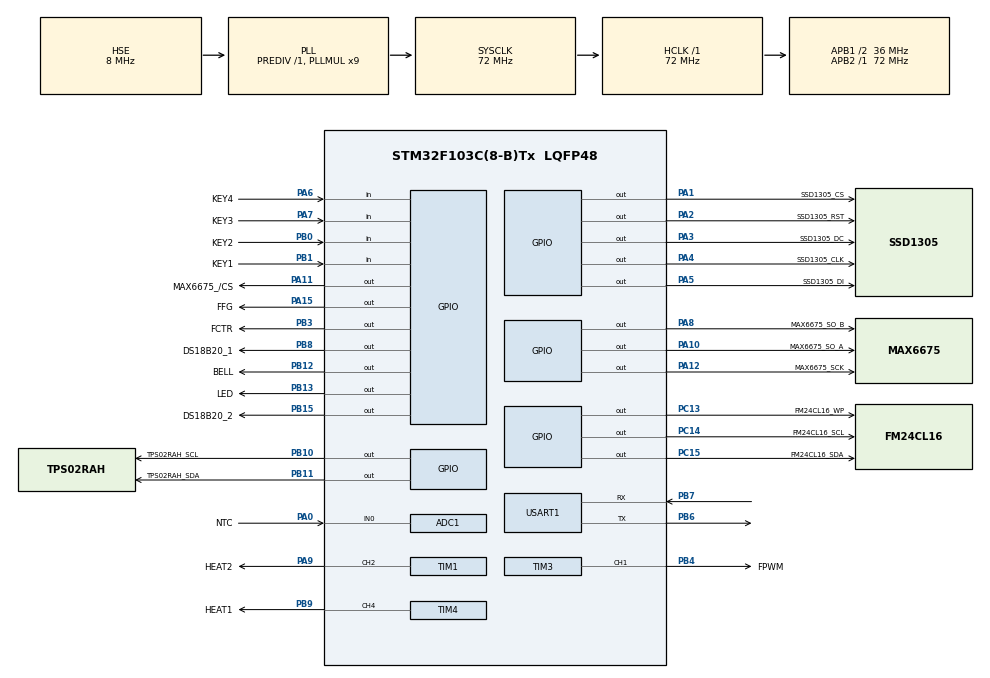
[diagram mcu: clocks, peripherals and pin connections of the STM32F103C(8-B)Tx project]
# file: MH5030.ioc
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ADC1.Channel-0\#ChannelRegularConversion=ADC_CHANNEL_0
ADC1.ContinuousConvMode=ENABLE
ADC1.NbrOfConversionFlag=1
ADC1.Rank-0\#ChannelRegularConversion=1
ADC1.SamplingTime-0\#ChannelRegularConversion=ADC_SAMPLETIME_1CYCLE_5
ADC1.master=1
Dma.ADC1.0.Direction=DMA_PERIPH_TO_MEMORY
Dma.ADC1.0.Instance=DMA1_Channel1
Dma.ADC1.0.MemDataAlignment=DMA_MDATAALIGN_HALFWORD
Dma.ADC1.0.MemInc=DMA_MINC_DISABLE
Dma.ADC1.0.Mode=DMA_CIRCULAR
Dma.ADC1.0.PeriphDataAlignment=DMA_PDATAALIGN_HALFWORD
Dma.ADC1.0.PeriphInc=DMA_PINC_DISABLE
Dma.ADC1.0.Priority=DMA_PRIORITY_LOW
Dma.Request0=ADC1
FREERTOS.INCLUDE_vTaskDelayUntil=1
FREERTOS.Tasks01=HeaterCtrl_Task,1,128,StartDefaultTask,Default,NULL,Dynamic,NULL,NULL;Fan_Task,0,128,fan_task,Default,NULL,Dynamic,NULL,NULL;TCouple_Task,-3,128,tcouple_task,Default,NULL,Dynamic,NULL,NULL;DS18B20_Task,-3,128,ds18b20_task,Default,NULL,Dynamic,NULL,NULL;Wdg_Task,-3,128,wdg_task,Default,NULL,Dynamic,NULL,NULL
FREERTOS.configTOTAL_HEAP_SIZE=5120
FREERTOS.configUSE_COUNTING_SEMAPHORES=0
FREERTOS.configUSE_RECURSIVE_MUTEXES=0
FREERTOS.configUSE_TIMERS=0
IWDG.Prescaler=IWDG_PRESCALER_64
IWDG.Reload=625
Mcu.Family=STM32F1
Mcu.Name=STM32F103C(8-B)Tx
Mcu.Package=LQFP48
NVIC.DMA1_Channel1_IRQn=true\:5\:0\:false\:false\:true\:true\:false\:true\:true
NVIC.PriorityGroup=NVIC_PRIORITYGROUP_4
NVIC.TIM2_IRQn=true\:15\:0\:false\:false\:true\:false\:false\:true\:true
NVIC.TimeBase=TIM2_IRQn
NVIC.TimeBaseIP=TIM2
PA0-WKUP.GPIO_Label=NTC
PA0-WKUP.Signal=ADCx_IN0
PA1.GPIO_Label=SSD1305_CS
PA1.GPIO_ModeDefaultOutputPP=GPIO_MODE_OUTPUT_PP
PA1.GPIO_Speed=GPIO_SPEED_FREQ_HIGH
PA1.PinState=GPIO_PIN_SET
PA1.Signal=GPIO_Output
PA10.GPIO_Label=MAX6675_SO_A
PA10.GPIO_Speed=GPIO_SPEED_FREQ_HIGH
PA10.Signal=GPIO_Output
PA11.GPIO_Label=MAX6675_/CS
PA11.Signal=GPIO_Output
PA12.GPIO_Label=MAX6675_SCK
PA12.GPIO_Speed=GPIO_SPEED_FREQ_HIGH
PA12.PinState=GPIO_PIN_SET
PA12.Signal=GPIO_Output
PA13.Mode=Serial_Wire
PA13.Signal=SYS_JTMS-SWDIO
PA14.Mode=Serial_Wire
PA14.Signal=SYS_JTCK-SWCLK
PA15.GPIO_Label=FFG
PA15.Signal=GPIO_Output
PA2.GPIO_Label=SSD1305_RST
PA2.GPIO_Speed=GPIO_SPEED_FREQ_HIGH
PA2.PinState=GPIO_PIN_SET
PA2.Signal=GPIO_Output
PA3.GPIO_Label=SSD1305_DC
PA3.GPIO_Speed=GPIO_SPEED_FREQ_HIGH
PA3.PinState=GPIO_PIN_SET
PA3.Signal=GPIO_Output
PA4.GPIO_Label=SSD1305_CLK
PA4.GPIO_Speed=GPIO_SPEED_FREQ_HIGH
PA4.PinState=GPIO_PIN_SET
PA4.Signal=GPIO_Output
PA5.GPIO_Label=SSD1305_DI
PA5.GPIO_Speed=GPIO_SPEED_FREQ_HIGH
PA5.PinState=GPIO_PIN_SET
PA5.Signal=GPIO_Output
PA6.GPIO_Label=KEY4
PA6.GPIO_PuPd=GPIO_PULLUP
PA6.Signal=GPIO_Input
PA7.GPIO_Label=KEY3
PA7.GPIO_PuPd=GPIO_PULLUP
PA7.Signal=GPIO_Input
PA8.GPIO_Label=MAX6675_SO_B
PA8.GPIO_Speed=GPIO_SPEED_FREQ_HIGH
PA8.Signal=GPIO_Output
PA9.GPIO_Label=HEAT2
PA9.Signal=S_TIM1_CH2
PB0.GPIO_Label=KEY2
PB0.GPIO_PuPd=GPIO_PULLUP
PB0.Signal=GPIO_Input
PB1.GPIO_Label=KEY1
PB1.GPIO_PuPd=GPIO_PULLUP
PB1.Signal=GPIO_Input
PB10.GPIO_Label=TPS02RAH_SCL
PB10.GPIO_ModeDefaultOutputPP=GPIO_MODE_OUTPUT_OD
PB10.GPIO_PuPd=GPIO_NOPULL
PB10.GPIO_Speed=GPIO_SPEED_FREQ_HIGH
PB10.PinState=GPIO_PIN_SET
PB10.Signal=GPIO_Output
PB11.GPIO_Label=TPS02RAH_SDA
PB11.GPIO_ModeDefaultOutputPP=GPIO_MODE_OUTPUT_OD
PB11.GPIO_PuPd=GPIO_NOPULL
PB11.GPIO_Speed=GPIO_SPEED_FREQ_HIGH
PB11.PinState=GPIO_PIN_SET
PB11.Signal=GPIO_Output
PB12.GPIO_Label=BELL
PB12.PinState=GPIO_PIN_RESET
PB12.Signal=GPIO_Output
PB13.GPIO_Label=LED
PB13.GPIO_ModeDefaultOutputPP=GPIO_MODE_OUTPUT_PP
PB13.PinState=GPIO_PIN_SET
PB13.Signal=GPIO_Output
PB15.GPIO_Label=DS18B20_2
PB15.GPIO_ModeDefaultOutputPP=GPIO_MODE_OUTPUT_OD
PB15.GPIO_PuPd=GPIO_NOPULL
PB15.Signal=GPIO_Output
PB3.GPIO_Label=FCTR
PB3.GPIO_Speed=GPIO_SPEED_FREQ_LOW
PB3.PinState=GPIO_PIN_SET
PB3.Signal=GPIO_Output
PB4.GPIO_Label=FPWM
PB4.Signal=S_TIM3_CH1
PB6.Mode=Asynchronous
PB6.Signal=USART1_TX
PB7.GPIO_PuPd=GPIO_NOPULL
PB7.Mode=Asynchronous
PB7.Signal=USART1_RX
PB8.GPIO_Label=DS18B20_1
PB8.GPIO_ModeDefaultOutputPP=GPIO_MODE_OUTPUT_OD
PB8.GPIO_PuPd=GPIO_NOPULL
PB8.GPIO_Speed=GPIO_SPEED_FREQ_MEDIUM
PB8.Signal=GPIO_Output
PB9.GPIO_Label=HEAT1
PB9.Signal=S_TIM4_CH4
PC13-TAMPER-RTC.GPIO_Label=FM24CL16_WP
PC13-TAMPER-RTC.GPIO_ModeDefaultOutputPP=GPIO_MODE_OUTPUT_OD
PC13-TAMPER-RTC.GPIO_PuPd=GPIO_NOPULL
PC13-TAMPER-RTC.Signal=GPIO_Output
PC14-OSC32_IN.GPIO_Label=FM24CL16_SCL
PC14-OSC32_IN.GPIO_ModeDefaultOutputPP=GPIO_MODE_OUTPUT_OD
PC14-OSC32_IN.GPIO_PuPd=GPIO_NOPULL
PC14-OSC32_IN.GPIO_Speed=GPIO_SPEED_FREQ_MEDIUM
PC14-OSC32_IN.Signal=GPIO_Output
PC15-OSC32_OUT.GPIO_Label=FM24CL16_SDA
PC15-OSC32_OUT.GPIO_ModeDefaultOutputPP=GPIO_MODE_OUTPUT_OD
PC15-OSC32_OUT.GPIO_PuPd=GPIO_NOPULL
PC15-OSC32_OUT.GPIO_Speed=GPIO_SPEED_FREQ_MEDIUM
PC15-OSC32_OUT.PinState=GPIO_PIN_RESET
PC15-OSC32_OUT.Signal=GPIO_Output
PD0-OSC_IN.Mode=HSE-External-Oscillator
PD0-OSC_IN.Signal=RCC_OSC_IN
PD1-OSC_OUT.Mode=HSE-External-Oscillator
PD1-OSC_OUT.Signal=RCC_OSC_OUT
ProjectManager.HeapSize=0x200
ProjectManager.StackSize=0x400
ProjectManager.TargetToolchain=MDK-ARM V5.32
RCC.ADCPresc=RCC_ADCPCLK2_DIV6
RCC.AHBFreq_Value=72000000
RCC.APB1CLKDivider=RCC_HCLK_DIV2
RCC.APB1Freq_Value=36000000
RCC.APB1TimFreq_Value=72000000
RCC.APB2Freq_Value=72000000
RCC.APB2TimFreq_Value=72000000
RCC.HCLKFreq_Value=72000000
RCC.PLLMUL=RCC_PLL_MUL9
RCC.PLLSourceVirtual=RCC_PLLSOURCE_HSE
RCC.SYSCLKFreq_VALUE=72000000
RCC.SYSCLKSource=RCC_SYSCLKSOURCE_PLLCLK
RCC.USBFreq_Value=72000000
SH.ADCx_IN0.0=ADC1_IN0,IN0
SH.S_TIM1_CH2.0=TIM1_CH2,PWM Generation2 CH2
SH.S_TIM3_CH1.0=TIM3_CH1,PWM Generation1 CH1
SH.S_TIM4_CH4.0=TIM4_CH4,PWM Generation4 CH4
TIM1.AutoReloadPreload=TIM_AUTORELOAD_PRELOAD_ENABLE
TIM1.Channel-PWM\ Generation2\ CH2=TIM_CHANNEL_2
TIM1.OCMode_PWM-PWM\ Generation2\ CH2=TIM_OCMODE_PWM2
TIM1.Period=999
TIM1.Prescaler=7199
TIM3.AutoReloadPreload=TIM_AUTORELOAD_PRELOAD_ENABLE
TIM3.Channel-PWM\ Generation1\ CH1=TIM_CHANNEL_1
TIM3.OCMode_PWM-PWM\ Generation1\ CH1=TIM_OCMODE_PWM1
TIM3.Period=999
TIM3.Prescaler=7199
TIM4.AutoReloadPreload=TIM_AUTORELOAD_PRELOAD_ENABLE
TIM4.Channel-PWM\ Generation4\ CH4=TIM_CHANNEL_4
TIM4.OCMode_PWM-PWM\ Generation4\ CH4=TIM_OCMODE_PWM2
TIM4.Period=999
TIM4.Prescaler=7200
TIM4.Pulse-PWM\ Generation4\ CH4=0
USART1.VirtualMode=VM_ASYNC
VP_FREERTOS_VS_CMSIS_V1.Mode=CMSIS_V1
VP_IWDG_VS_IWDG.Mode=IWDG_Activate
VP_SYS_VS_tim2.Mode=TIM2
VP_TIM1_VS_ClockSourceINT.Mode=Internal
board=custom

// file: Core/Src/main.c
/* USER CODE BEGIN Header */
/**
  ******************************************************************************
  * @file           : main.c
  * @brief          : Main program body
  ******************************************************************************
  * @attention
  *
  * Copyright (c) 2025 STMicroelectronics.
  * All rights reserved.
  *
  * This software is licensed under terms that can be found in the LICENSE file
  * in the root directory of this software component.
  * If no LICENSE file comes with this software, it is provided AS-IS.
  *
  ******************************************************************************
  */
/* USER CODE END Header */
#include "main.h"
#include "cmsis_os.h"
#include "adc.h"
#include "dma.h"
#include "iwdg.h"
#include "tim.h"
#include "usart.h"
#include "gpio.h"

/* USER CODE BEGIN Includes */
#include "delay.h"
#include "I2c.h"
#include "tps02r.h"
#include <stdio.h>
#include "ssd1305.h"
#include "tps02r.h"
#include "FM24CXX.h"
#include "onewire.h"
#include "ds18b20.h"
#include "MAX6675.h"
#include "ntc.h"
#include "pid.h"
#include "fan_control.h"
#include "key.h"
#include "pid_manager.h"
/* USER CODE END Includes */

void SystemClock_Config(void);
void MX_FREERTOS_Init(void);

int main(void)
{

  /* MCU Configuration--------------------------------------------------------*/

  /* Reset of all peripherals, Initializes the Flash interface and the Systick. */
  HAL_Init();

  /* Configure the system clock */
  SystemClock_Config();

  /* Initialize all configured peripherals */
  MX_GPIO_Init();
  MX_DMA_Init();
  MX_ADC1_Init();
  MX_USART1_UART_Init();
  MX_TIM1_Init();
  MX_TIM3_Init();
  MX_TIM4_Init();
//  MX_IWDG_Init();
  /* USER CODE BEGIN 2 */

  delay_init(72);                     /* 初始化延时函数 */

/*-------------------------------------FAN TEST PROGRAM----------------------------------------------*/

//  HAL_TIM_PWM_Start (&htim3, TIM_CHANNEL_1);
//  HAL_GPIO_WritePin (GPIOB,GPIO_PIN_3,GPIO_PIN_RESET);
//  Fan_Init();
//    Fan_Start();
//    Filter_Init_All();
//
/*-------------------------------------FAN TEST PROGRAM----------------------------------------------*/

/*-------------------------------------PWM TEST PROGRAM----------------------------------------------*/

  HAL_TIM_PWM_Start (&htim1, TIM_CHANNEL_2);
  HAL_TIM_PWM_Start (&htim4, TIM_CHANNEL_4);

/*-------------------------------------PWM TEST PROGRAM----------------------------------------------*/

/*-------------------------------------MAX6675 TEST PROGRAM------------------------------------------*/
//  MAX6675_Setup();
//  Temperature_Monitor_Task();
/*-------------------------------------MAX6675 TEST PROGRAM------------------------------------------*/

/*-------------------------------------ds18b20 test program------------------------------------------*/
//  u8 error = 0;
//  OneWire_Init(&OneWire_2,DS18B20_2_GPIO_Port, DS18B20_2_Pin);
//  error=OneWire_Reset(&OneWire_2);

//  if(error==0)
//  {
//      printf("ok!!!\n");
//  }else
//  {
//      printf("error!!!\n");
//  }
/*-------------------------------------ds18b20 test program-------------------------------------------*/

/*-------------------------------------TPS02R test program----------------------------------------------*/
//    u8 error = 0;
//    tps02r_iic_init(&g_stTps02r_IICManger);
//    error=tps02r_cfg_init();
//    if(error==0)
//    {
//      printf("ok!!!\n");
//    }else
//    {
//      printf("error!!!\n");
//    }

/*-------------------------------------TPS02R test program----------------------------------------------*/

/*-------------------------------------FM24CXX test program----------------------------------------------*/
//  FM24CXX_iic_init(&fm24cxx_iicmanager);
//  printf("test\r\n");
//  if(FM_Check()==0)
//  {
//      printf("ok!!!\n");
//  }
//  char result = FM_ReadOneByte(EE_TYPE);
//  printf("result = %d ",result);
/*-------------------------------------FM24CXX test program----------------------------------------------*/

/*-------------------------------------SSD1305 test program----------------------------------------------*/
//  SSD1305_init();
//  clearscreen();
//
//             /* 起始界面 */
//  DispString(40, 12, "MH5030",   false);
//  DispString(28, 36, "Ver 1.0.0", false);
/*************************************************/
//        /* 枪管，腔体 温度显示界面 */

//    DispString(8, 0, "枪管℃", false);
//    DispString(72, 0, "腔体℃", false);
//
//     /* 分割线 */
//    draw_vspan(64,1,64);
//    draw_hline(1,123,18);
//
//    Show_Word_U_16x32(8,24,978,3,0,false);
//    Show_Word_U_16x32(72,24,978,3,0,false);

/*************************************************/

//          /* 枪管温度设置界面 */
//
//    DispString(16, 0, "枪管温度设置", false);
//
//
//              /* 分割线 */
//    draw_hline(1, 127,20);
//
//    Show_Word_U(48, 32, 101, 3, 0, false);
//    DispString(74, 32, "℃", false);
//
/*************************************************/

//          /* 腔体温度设置界面 */
//
//    DispString(16, 0, "腔体温度设置", false);
//              /* 分割线 */
//    draw_hline(1,127,20);
//
//    Show_Word_U(48, 32, 120, 3, 0, false);
//    DispString(74, 32, "℃", false);
//
/*************************************************/

//          /* 二噁英，3091，温度显示界面 */
//    dispHzChar(24,0,35,false);        /* 噁 */
//    DispString(8, 0, "二", false);
//    DispString(40, 0, "英", false);
//    DispString(80, 0, "3091", false);

//              /* 分割线 */
//    draw_hline(1,127,18);
//    draw_vspan(64,1,64);

////    DispString12(12, 24, "测量值", false);
////    DispString12(76, 24, "测量值", false);

////    //    /* 6*12 显示*/
////    Disp_Word_UM(18, 40, 3, 120, 0, 0);
////    DispString12(40, 40, "℃", false);
////    Disp_Word_UM(82, 40, 3, 120, 0, 0);
//
//    ////    /* 8*16 显示*/
//    Show_Word_U(14, 32, 101, 3, 0, false);
//    DispString(38, 32, "℃", false);
//    Show_Word_U(78, 32, 101, 3, 0, false);
//    DispString(102, 32, "℃", false);

///*************************************************/

//          /* 智能温控调节界面 */
//    DispString(16, 0, "智能温控调节", false);
//              /* 分割线 */
//      draw_hline(1,127,20);

//    DispString(32, 32, "已按:", false);
//    Show_Word_U(72, 32, 1, 1, 0, true);
//    DispString(80, 32, "/", false);
//    Show_Word_U(88, 32, 7, 1, 0, false);
//
/////*************************************************/

//    /* 显示标题 */
//    DispString(16, 0, "智能温控调节", false);
//    draw_hline(1, 127, 20);
//
//    /* 显示进度 */
//    DispString(32, 32, "进度:", false);
//    Show_Word_U(72, 32, 1, 1, 0, true);
//    DispString(80, 32, "/", false);
//    Show_Word_U(88, 32, 5, 1, 0, false);

//    /* 显示提示信息 */
//    DispString(16, 48, "ESC键停止", false);
///*************************************************/

//     /* 枪管选择界面 */
//    DispString(32, 0, "枪管设置", false);
//
//    /* 分割线 */
//    draw_hline(1,127,20);
//
//    DispString(14, 24, "硫酸雾", true);
//    DispString(68, 24, "二噁英", false);
//    dispHzChar(84,24,31,false);        /* 噁 */
//
//    /* 分割线 */
//    draw_hline(13,115,44);
//    draw_vspan(64,21,43);
//    draw_vspan(45,45,64);
//    draw_vspan(84,45,64);
//
//    DispString(22,48,"汞", false);
//    DispString(50,48,"3041", true);
//    DispString(90,48,"氨", false);

///*************************************************/

/*-------------------------------------SSD1305 test program----------------------------------------------*/

  /* USER CODE END 2 */

    /* Call init function for freertos objects (in cmsis_os2.c) */
    MX_FREERTOS_Init();

    /* Start scheduler */
    osKernelStart();

  /* We should never get here as control is now taken by the scheduler */

  /* Infinite loop */
while (1)
{

}
}

void SystemClock_Config(void)
{
  RCC_OscInitTypeDef RCC_OscInitStruct = {0};
  RCC_ClkInitTypeDef RCC_ClkInitStruct = {0};
  RCC_PeriphCLKInitTypeDef PeriphClkInit = {0};

  /** Initializes the RCC Oscillators according to the specified parameters
  * in the RCC_OscInitTypeDef structure.
  */
  RCC_OscInitStruct.OscillatorType = RCC_OSCILLATORTYPE_LSI|RCC_OSCILLATORTYPE_HSE;
  RCC_OscInitStruct.HSEState = RCC_HSE_ON;
  RCC_OscInitStruct.HSEPredivValue = RCC_HSE_PREDIV_DIV1;
  RCC_OscInitStruct.HSIState = RCC_HSI_ON;
  RCC_OscInitStruct.LSIState = RCC_LSI_ON;
  RCC_OscInitStruct.PLL.PLLState = RCC_PLL_ON;
  RCC_OscInitStruct.PLL.PLLSource = RCC_PLLSOURCE_HSE;
  RCC_OscInitStruct.PLL.PLLMUL = RCC_PLL_MUL9;
  if (HAL_RCC_OscConfig(&RCC_OscInitStruct) != HAL_OK)
  {
    Error_Handler();
  }

  /** Initializes the CPU, AHB and APB buses clocks
  */
  RCC_ClkInitStruct.ClockType = RCC_CLOCKTYPE_HCLK|RCC_CLOCKTYPE_SYSCLK
                              |RCC_CLOCKTYPE_PCLK1|RCC_CLOCKTYPE_PCLK2;
  RCC_ClkInitStruct.SYSCLKSource = RCC_SYSCLKSOURCE_PLLCLK;
  RCC_ClkInitStruct.AHBCLKDivider = RCC_SYSCLK_DIV1;
  RCC_ClkInitStruct.APB1CLKDivider = RCC_HCLK_DIV2;
  RCC_ClkInitStruct.APB2CLKDivider = RCC_HCLK_DIV1;

  if (HAL_RCC_ClockConfig(&RCC_ClkInitStruct, FLASH_LATENCY_2) != HAL_OK)
  {
    Error_Handler();
  }
  PeriphClkInit.PeriphClockSelection = RCC_PERIPHCLK_ADC;
  PeriphClkInit.AdcClockSelection = RCC_ADCPCLK2_DIV6;
  if (HAL_RCCEx_PeriphCLKConfig(&PeriphClkInit) != HAL_OK)
  {
    Error_Handler();
  }
}

void HAL_TIM_PeriodElapsedCallback(TIM_HandleTypeDef *htim)
{
  if (htim->Instance == TIM2)
  {
    HAL_IncTick();
  }

  /* USER CODE END Callback 1 */
}

void Error_Handler(void)
{
  __disable_irq();
  while (1)
  {
  }
}

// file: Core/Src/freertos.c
/* USER CODE BEGIN Header */
/**
  ******************************************************************************
  * File Name          : freertos.c
  * Description        : Code for freertos applications
  ******************************************************************************
  * @attention
  *
  * Copyright (c) 2025 STMicroelectronics.
  * All rights reserved.
  *
  * This software is licensed under terms that can be found in the LICENSE file
  * in the root directory of this software component.
  * If no LICENSE file comes with this software, it is provided AS-IS.
  *
  ******************************************************************************
  */
/* USER CODE END Header */

#include "FreeRTOS.h"
#include "task.h"
#include "main.h"
#include "cmsis_os.h"

/* USER CODE BEGIN Includes */
#include "delay.h"
#include "I2c.h"
#include "tps02r.h"
#include <stdio.h>
#include "ssd1305.h"
#include "FM24CXX.h"
#include "onewire.h"
#include "ds18b20.h"
#include "MAX6675.h"
#include "ntc.h"
#include "usart.h"
#include "pid.h"
#include "fan_control.h"
#include "iwdg.h"
#include "key.h"
#include "queue.h"
#include "semphr.h"
#include <stdlib.h>
#include "pid_manager.h"
#include "ui_manager.h"
#include "key_manager.h"

/* USER CODE END Includes */

/* USER CODE BEGIN Variables */

// FreeRTOS对象
QueueHandle_t UI_Queue = NULL;
SemaphoreHandle_t Data_Mutex = NULL;

// 任务句柄
osThreadId Key_TaskHandle;
osThreadId UI_TaskHandle;

/* USER CODE END Variables */
osThreadId HeaterCtrl_TaskHandle;
osThreadId Fan_TaskHandle;
osThreadId TCouple_TaskHandle;
osThreadId DS18B20_TaskHandle;
osThreadId Wdg_TaskHandle;

void heaterctrl_task(void const * argument);
void fan_task(void const * argument);
void tcouple_task(void const * argument);
void ds18b20_task(void const * argument);
void wdg_task(void const * argument);
void key_task(void const * argument);
void ui_task(void const * argument);
void MX_FREERTOS_Init(void); /* (MISRA C 2004 rule 8.1) */

/* GetIdleTaskMemory prototype (linked to static allocation support) */
void vApplicationGetIdleTaskMemory( StaticTask_t **ppxIdleTaskTCBBuffer, StackType_t **ppxIdleTaskStackBuffer, uint32_t *pulIdleTaskStackSize );

/* USER CODE BEGIN GET_IDLE_TASK_MEMORY */
static StaticTask_t xIdleTaskTCBBuffer;
static StackType_t xIdleStack[configMINIMAL_STACK_SIZE];

void vApplicationGetIdleTaskMemory( StaticTask_t **ppxIdleTaskTCBBuffer, StackType_t **ppxIdleTaskStackBuffer, uint32_t *pulIdleTaskStackSize )
{
  *ppxIdleTaskTCBBuffer = &xIdleTaskTCBBuffer;
  *ppxIdleTaskStackBuffer = &xIdleStack[0];
  *pulIdleTaskStackSize = configMINIMAL_STACK_SIZE;
  /* place for user code */
}
/* USER CODE END GET_IDLE_TASK_MEMORY */

void MX_FREERTOS_Init(void)
{
  /* USER CODE BEGIN Init */

   /* 创建消息队列 */
   UI_Queue = xQueueCreate(10, sizeof(UIMessage_t));

   /* 创建互斥量 */
   Data_Mutex = xSemaphoreCreateMutex();

  /* USER CODE END Init */

  /* Create the thread(s) */
  /* definition and creation of HeaterCtrl_Task */
  osThreadDef(HeaterCtrl_Task, heaterctrl_task, osPriorityHigh, 0, 256);
  HeaterCtrl_TaskHandle = osThreadCreate(osThread(HeaterCtrl_Task), NULL);

  /* definition and creation of Fan_Task */
  osThreadDef(Fan_Task, fan_task, osPriorityLow, 0, 48);
  Fan_TaskHandle = osThreadCreate(osThread(Fan_Task), NULL);

//  /* definition and creation of TCouple_Task */
//  osThreadDef(TCouple_Task, tcouple_task, osPriorityNormal, 0, 64);
//  TCouple_TaskHandle = osThreadCreate(osThread(TCouple_Task), NULL);

//  /* definition and creation of DS18B20_Task */
//  osThreadDef(DS18B20_Task, ds18b20_task, osPriorityNormal, 0, 64);
//  DS18B20_TaskHandle = osThreadCreate(osThread(DS18B20_Task), NULL);

  /* definition and creation of Wdg_Task */
  osThreadDef(Wdg_Task, wdg_task, osPriorityRealtime , 0, 32);
  Wdg_TaskHandle = osThreadCreate(osThread(Wdg_Task), NULL);

  /* USER CODE BEGIN RTOS_THREADS */

  /* 创建Key任务 */
  osThreadDef(Key_Task, key_task, osPriorityBelowNormal, 0, 64);
  Key_TaskHandle = osThreadCreate(osThread(Key_Task), NULL);

  /* 创建UI任务 */
  osThreadDef(UI_Task, ui_task, osPriorityLow, 0, 128);
  UI_TaskHandle = osThreadCreate(osThread(UI_Task), NULL);
//
  /* USER CODE END RTOS_THREADS */

}

void heaterctrl_task(void const * argument)
{
  /* USER CODE BEGIN StartDefaultTask */
    float pt100_front = 0.0;                                              /* 记录前枪管温度 */
    float pt100_rear = 0.0;                                               /* 记录腔体温度 */

    /* 硬件初始化 */
    FM24CXX_iic_init(&fm24cxx_iicmanager);                                /* 初始化EEPROM */
    tps02r_iic_init(&g_stTps02r_IICManger);                               /* 初始化tps02r */
    tps02r_cfg_init();

    /* PID系统初始化 */
    pid_front_init(&g_stPidFront, &g_stPidFrontAuto, &g_stFilterFront);   /* 初始化前枪管PID参数 */
    pid_rear_init(&g_stPidRear, &g_stPidRearAuto, &g_stFilterRear);       /* 初始化腔体PID参数 */

    /* 参数管理器初始化 */
    Init_PID_Manager();

    /* 检查EEPROM */
    if (FM_Check() != 0)
    {
        g_system_status.error_code = 1;                                   /* EEPROM错误 */
    }

    /* Infinite loop */
    for(;;)
    {
        /* 读取前枪管温度 */
        if (tps02r_get_temp(TPS02R_CHAN2, &pt100_front) == TPS02R_FUN_OK)
        {
            /* 滤波处理 */
            g_stPidFront.Pv = combined_filter(&g_stFilterFront, pt100_front);
            g_system_status.front_temp_pv = g_stPidFront.Pv;
        }
        else
        {
            g_system_status.temp_error |= 0x01;                            /* 前枪管温度读取错误 */
        }

        /* 读取腔体温度 */
        if (tps02r_get_temp(TPS02R_CHAN1, &pt100_rear) == TPS02R_FUN_OK)
        {
            /* 滤波处理 */
            g_stPidRear.Pv = combined_filter(&g_stFilterRear, pt100_rear);
            g_system_status.rear_temp_pv = g_stPidRear.Pv;
        }

        else
        {
            g_system_status.temp_error |= 0x02;                            /* 腔体温度读取错误 */
        }

        /* 更新设定值 */
        g_stPidFront.Sv = g_system_status.front_temp_sv;
        g_stPidRear.Sv = g_system_status.rear_temp_sv;

        /* 检查是否需要切换参数组 */
        if (g_system_status.mode != PID_MODE_AUTOTUNE)
        {
            Check_And_Switch_Group();
        }

        /* 处理自整定请求 */
        if (g_system_status.autotune_request)
        {
            /* 设置自整定模式 */
            g_stPidFrontAuto.tuneEnable = 1;
            g_stPidRearAuto.tuneEnable = 1;
            g_system_status.autotune_request = 0;
        }

        /* 根据运行模式执行不同逻辑 */
        if (g_system_status.mode == PID_MODE_AUTOTUNE)
        {
            /* 自整定模式：两路同时进行 */
            RelayFeedbackAutoTuning(&g_stPidFront, &g_stPidFrontAuto);
            RelayFeedbackAutoTuning(&g_stPidRear, &g_stPidRearAuto);

        }
        else if (g_system_status.mode == PID_MODE_RUN)
        {
            /* 运行模式：执行PID控制 */
            PID_Calc(&g_stPidFront, &g_stPidFrontAuto);
            PID_Calc(&g_stPidRear, &g_stPidRearAuto);
        }
        else
        {
            /* 停止模式：输出置零 */
            g_stPidFront.OUT = 0;
            g_stPidRear.OUT = 0;
        }

        /* 更新PWM输出 */
        if (g_stPidFront.OUT > 0 )
        {
            TIM4->CCR4 = g_stPidFront.OUT - 1;
        }
        else
        {
            TIM4->CCR4 = 0;
        }

        if (g_stPidRear.OUT > 0)
        {
            TIM1->CCR2 = g_stPidRear.OUT - 1;
        }
        else
        {
            TIM1->CCR2 = 0;
        }
        osDelay(200);
    }
  /* USER CODE END StartDefaultTask */
}

/**
 * @brief  Key任务 - 处理按键和系统逻辑
 */
void key_task(void const * argument)
{
    uint8_t key = 0;
    uint32_t startup_timer = osKernelSysTick();

    /* 初始化按键管理器 */
    Key_Manager_Init();

    for(;;)
    {
        /* 自动切换启动页面 */
        if(g_current_page_id == PAGE_STARTUP &&
           (osKernelSysTick() - startup_timer) > 2000)
        {
            xSemaphoreTake(Data_Mutex, portMAX_DELAY);
            g_current_page_id = PAGE_TEMP_DISPLAY;
            xSemaphoreGive(Data_Mutex);

            Send_UI_Message(MSG_PAGE_CHANGE, PAGE_TEMP_DISPLAY, 0, 1);
        }

        /* 按键扫描 */
        key = key_scan(0);

        if(key != 0)
        {
            xSemaphoreTake(Data_Mutex, portMAX_DELAY);

            /* 根据当前模式处理按键 */
            switch (g_current_mode)
           {
            case MODE_BROWSE:
                Process_Browse_Mode_Key(key);
                break;

            case MODE_EDIT:
                Process_Edit_Mode_Key(key);
                break;

            case MODE_AUTOTUNE:
                Process_Autotune_Key(key);
                break;

            case MODE_SELECT:
                Process_Gun_Select_Mode_Key(key);
                break;

            default:
                /* 未知模式：可选择忽略、记录日志或做安全处理 */
                break;
            }

            xSemaphoreGive(Data_Mutex);
        }

        /* 自整定进度更新 */
        if(g_current_mode == MODE_AUTOTUNE)
        {
            Update_Autotune_Status();

            /* 检查是否完成 */
            if(g_system_status.autotune_complete)
            {
                g_current_mode = MODE_BROWSE;
                g_stOkCntrAutotune.autotune_triggered = 0;
                g_current_page_id = PAGE_SMART_CONTROL;
                /* 清零按键 */
                Reset_Key_Counter(&g_stOkCntrAutotune);
                /* 进行模式转换，回到浏览模式 */
                Send_UI_Message(MSG_MODE_CHANGE, PAGE_SMART_CONTROL, 0, 1);
            }
            else
            {
                /* 发送进度更新消息 */
                Send_UI_Message(MSG_AUTOTUNE_PROGRESS, PAGE_SMART_CONTROL, 0, 0);
            }
        }

        osDelay(20);
    }
}

/* UI任务 */
void ui_task(void const * argument)
{
    UIMessage_t msg;
    uint32_t realtime_counter = 0;
    bool need_temp_update = false;

    /* 初始化UI管理器 */
    UI_Manager_Init();

    /* 显示启动页面 */
    Display_Startup_Page();

    for(;;)
    {
        /* 检查消息队列 */
        if(xQueueReceive(UI_Queue, &msg, 0) == pdTRUE)
        {
            switch(msg.msg_type)
            {
                case MSG_PAGE_CHANGE:
                    Display_Page(msg.page_id);
                    break;

                case MSG_VALUE_UPDATE:
                    Update_Value_Display(msg.page_id, msg.new_value,
                                       g_current_mode == MODE_EDIT);
                    break;

                case MSG_MODE_CHANGE:
                    if(msg.page_id == PAGE_SMART_CONTROL)           /* 自增定模式 */
                    {
                        Display_Page(msg.page_id);
                    }
                    else if(msg.page_id == PAGE_GUN_SELECT)         /* 枪管选择模式 */
                    {
                        Display_Page(msg.page_id);
                    }
                    else                                            /* 编辑模式 */
                    {
                        Update_Value_Display(msg.page_id,
                        g_pages[msg.page_id].current_value,
                        g_current_mode == MODE_EDIT);
                    }
                    break;

                case MSG_AUTOTUNE_PROGRESS:
                    if(g_current_page_id == PAGE_SMART_CONTROL &&
                       g_current_mode == MODE_AUTOTUNE)
                    {
                        Display_Autotune_Progress_Page();
                    }
                    break;
            }
        }

        /* 实时数据更新 */
        realtime_counter++;
        if(realtime_counter >= 25)  /* 500ms */
        {
            realtime_counter = 0;

            xSemaphoreTake(Data_Mutex, portMAX_DELAY);

            /* 根据不同页面更新数据 */
            if(g_current_page_id == PAGE_TEMP_DISPLAY &&
               g_current_mode == MODE_BROWSE)
            {
                /* 温度显示页面 */
                need_temp_update = true;
            }
            else if(g_current_page_id == PAGE_Airflow_DISPLAY &&
                    g_current_mode == MODE_BROWSE)
            {

                get_dioxin_temperatures(&g_dioxin_temp1, &g_dioxin_temp2);
                need_temp_update = true;
            }

            xSemaphoreGive(Data_Mutex);

            /* 刷新显示 */
            if(need_temp_update)
            {
                if(g_current_page_id == PAGE_TEMP_DISPLAY)
                {
                    /* 实际测量的温度显示 */
                    Show_Word_U_16x32(8,24,(u16)g_system_status.front_temp_pv,3,0,false);
                    Show_Word_U_16x32(70,24,(u16)g_system_status.rear_temp_pv,3,0,false);
                }
                else if(g_current_page_id == PAGE_Airflow_DISPLAY)
                {
                   /* 二噁英枪管专属，气流温度显示页面 */
                    Show_Word_U(48, 32, g_dioxin_temp1, 3, 0, false);
                }
                need_temp_update = false;
            }
        }

        osDelay(20);
    }
}

void fan_task(void const * argument)
{
  /* USER CODE BEGIN fan_task */
    Fan_Init();                                                  /* Fan initialization */
    Fan_Start();                                                 /* Start fan, default duty cycle 85% */
    Filter_Init_All();                                           /* 初始化滤波器 */
  /* Infinite loop */
    for(;;)
    {
        Fan_Update();                                            /* Update fan status */
        if(g_stFanStatus.fault_consec >= 10)                     /* Continuous fault count >= 10? */
        {
            HAL_GPIO_WritePin(GPIOB, BELL_Pin, GPIO_PIN_SET);    /* Trigger alarm */
            g_stFanStatus.fault = 1;                             /* Set fault flag */
        }else
        {
             HAL_GPIO_WritePin(GPIOB, BELL_Pin, GPIO_PIN_RESET);
             g_stFanStatus.fault = 0;
        }
        osDelay(200);
    }
  /* USER CODE END fan_task */
}

void tcouple_task(void const * argument)
{
  /* USER CODE BEGIN tcouple_task */
  MAX6675_Setup();                                               /* Initialize Max6675 */
  float temp_max6675;                                            /* Record temperature value */
  MAX6675_Error_e result ;                                       /* Record read status */
  /* Infinite loop */
  for(;;)
  {
     /* Check if thermocouple channel is ready */
    if(MAX6675_IsChannelReady(&g_stMax6675, MAX6675_CH1))
    {
         /* Read thermocouple temperature */
        result = MAX6675_ReadTemperatureFiltered(&g_stMax6675, MAX6675_CH1, &temp_max6675);
    }

    if(result != MAX6675_OK)
    {
        if(g_stMax6675.total_errors >= 3)                        /* Continuous read errors >= 3 */
        {
            //Error handling
        }
    }
    else
    {
        g_stMax6675.total_errors = 0 ;                           /* Reset error count */
    }
    osDelay(300);
  }
  /* USER CODE END tcouple_task */
}

void ds18b20_task(void const * argument)
{
  /* USER CODE BEGIN ds18b20_task */
  OneWire_Init(&g_stOneWire_1,DS18B20_1_GPIO_Port, DS18B20_1_Pin);
  bool ok = true;
  /* Infinite loop */
  for(;;)
  {
    ok = Ds18b20_ManualConvert(&g_stDs18b20_1,&g_stOneWire_1);
    if(ok != true)
    {
        if(g_stDs18b20_1.error_count >= 3)
        {
            //Error handling
        }
    }
    else
    {
        g_stDs18b20_1.error_count = 0;                 /* Reset error count */
        g_stDs18b20_1.DataIsValid = true;              /* Data valid */
    }
    osDelay(200);
  }
  /* USER CODE END ds18b20_task */
}

void wdg_task(void const * argument)
{
  /* USER CODE BEGIN wdg_task */
    MX_IWDG_Init();                                    /* Initialize watchdog */
  /* Infinite loop */
  for(;;)
  {
                                                       /* Hardware watchdog + LED indicator */
    HAL_GPIO_TogglePin(LED_GPIO_Port, LED_Pin);
  	HAL_IWDG_Refresh(&hiwdg);
    osDelay(500);
  }
  /* USER CODE END wdg_task */
}
